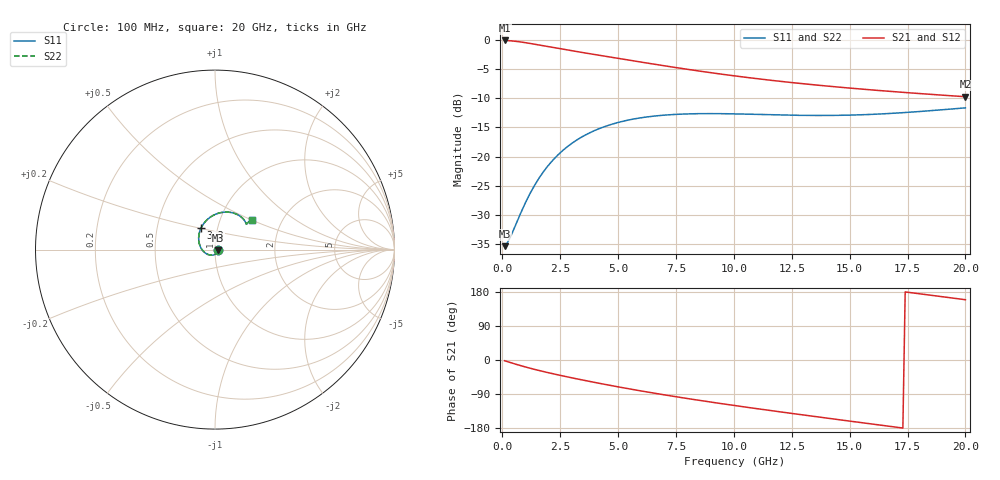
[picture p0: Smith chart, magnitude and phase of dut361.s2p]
! Touchstone file exported from HFSS 2024.1.0
!  File:  C:/UserFiles/LocalFiles/RDL_TSV_Batchsim/temp_RDL_TSV_361_1779640200.aedt
!  Generated:  12:46:17 AM May 25, 2026
!  Design:  RDL_TSV
!  Project:  temp_RDL_TSV_361_1779640200
!  Setup:  Setup1
!  Solution:  Sweep
! Variables:
!  dtsv = 14.92um
!  hbump = 3um
!  htsv = 86.85um
!  ldown = 635.23um
!  lrdl = 141.61um
!  p = 40
!  p1 = 47.5um
!  rhole = 10um
!  subl = 2472.13um
!  t = 450um
!  tdown = 2.73um
!  trdl = 3.09um
!  viad = 10um
!  wdown = 19.6um
!  wrdl = 16.07um
!  xbump = 18um
# GHz S MA R 50.000000
! Terminal data exported
! Port[1] = TM1_1_T1
! Port[2] = TM1_4_T1
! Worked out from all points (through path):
!   200 points, 100 MHz to 20 GHz, reference 50 ohm
!   highest |S21| = -0.15 dB at 100 MHz (marker M1); lowest = -9.8 dB at 20 GHz (marker M2)
!   group delay of S21, straight-line fit = 26.2 ps
!   lowest |S11| = -35.3 dB at 100 MHz (marker M3), VSWR 1.03, Z = 51.7 - j0.509 ohm
!   |S11| at or under -10 dB: start of sweep to end of sweep
!   |S22| runs from -35.3 to -11.7 dB; largest |S21 - S12| = 5.3e-14
!   S11 on the Smith chart (normalised r, x): 100 MHz: 1.03, -0.01; 3.3 GHz: 0.83, +0.20; 20 GHz: 1.41, +0.49
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0.1  0.01717 -16.7  0.9825 -2.0  0.9825 -2.0  0.01717 -16.7
! Gamma 0 0 0 0
! Port Impedance 50 0 50 0
0.3  0.01963 -48.7  0.9777 -5.8  0.9777 -5.8  0.01964 -48.7
0.9  0.03661 -121.7  0.947 -16.7  0.947 -16.7  0.03662 -121.7
1.3  0.05271 -153.8  0.9191 -23.3  0.9191 -23.3  0.05271 -153.8
1.7  0.0707 -178.0  0.8898 -29.4  0.8898 -29.4  0.07068 -177.9
2  0.08468 167.4  0.8683 -33.7  0.8683 -33.7  0.08465 167.4
2.4  0.1032 151.1  0.8408 -39.2  0.8408 -39.2  0.1032 151.2
2.8  0.1211 137.7  0.8149 -44.5  0.8149 -44.5  0.1211 137.7
3.3  0.1419 123.6  0.7844 -50.8  0.7844 -50.8  0.1419 123.6
3.5  0.1497 118.7  0.7727 -53.2  0.7727 -53.2  0.1496 118.7
4.2  0.1739 103.7  0.7333 -61.7  0.7333 -61.7  0.1738 103.7
5  0.1957 89.9  0.6909 -70.9  0.6909 -70.9  0.1956 89.9
5.8  0.2116 78.7  0.6511 -79.6  0.6511 -79.6  0.2116 78.8
6.8  0.2244 67.6  0.6054 -90.0  0.6054 -90.0  0.2244 67.6
8.4  0.2326 54.6  0.5419 -105.5  0.5419 -105.5  0.2326 54.6
10.1  0.2316 45.9  0.4874 -120.7  0.4874 -120.7  0.2316 45.9
11.7  0.2276 41.3  0.4465 -134.4  0.4465 -134.4  0.2276 41.3
13.4  0.2247 39.2  0.4116 -148.3  0.4116 -148.3  0.2248 39.2
15  0.2261 39.0  0.385 -161.2  0.385 -161.2  0.2262 38.9
16.7  0.2334 39.4  0.3614 -174.8  0.3614 -174.8  0.2334 39.3
18.3  0.2451 39.5  0.3425 172.5  0.3425 172.5  0.2452 39.4
20  0.2609 38.7  0.3248 159.1  0.3248 159.1  0.2609 38.7
